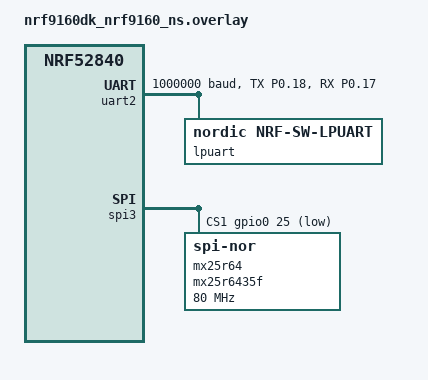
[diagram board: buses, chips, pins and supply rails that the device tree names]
#include <nrf9160dk_nrf52840_reset_on_if5.dtsi>

/ {
	chosen {
		zephyr,bt-uart=&lpuart;
	};
};

&gpiote {
	interrupts = <49 NRF_DEFAULT_IRQ_PRIORITY>;
};

&uart2 {
	current-speed = <1000000>;
	status = "okay";
	/delete-property/ hw-flow-control;

	pinctrl-0 = <&uart2_default_alt>;
	pinctrl-1 = <&uart2_sleep_alt>;
	pinctrl-names = "default", "sleep";
	lpuart: nrf-sw-lpuart {
		compatible = "nordic,nrf-sw-lpuart";
		status = "okay";
		req-pin = <21>; /* <&interface_to_nrf52840 3 0>; */
		rdy-pin = <19>; /* <&interface_to_nrf52840 2 0>; */
	};
};

&pinctrl {
	uart2_default_alt: uart2_default_alt {
		group1 {
			psels = <NRF_PSEL(UART_TX, 0, 18)>,
				<NRF_PSEL(UART_RX, 0, 17)>;
		};
	};

	uart2_sleep_alt: uart2_sleep_alt {
		group1 {
			psels = <NRF_PSEL(UART_TX, 0, 18)>,
				<NRF_PSEL(UART_RX, 0, 17)>;
			low-power-enable;
		};
	};

};

&spi3 {
	cs-gpios = <&arduino_header 16 GPIO_ACTIVE_LOW>, /* D10 */
		   <&gpio0 25 GPIO_ACTIVE_LOW>;
	mx25r64: mx25r6435f@1 {
		compatible = "jedec,spi-nor";
		reg = <1>;
		status = "okay";
		spi-max-frequency = <80000000>;
		jedec-id = [c2 28 17];
		size = <67108864>;
	};
};

/* Enable high drive mode for the SPI3 pins to get a square signal at 8 MHz */
&spi3_default {
	group1 {
		nordic,drive-mode = <NRF_DRIVE_H0H1>;
	};
};

